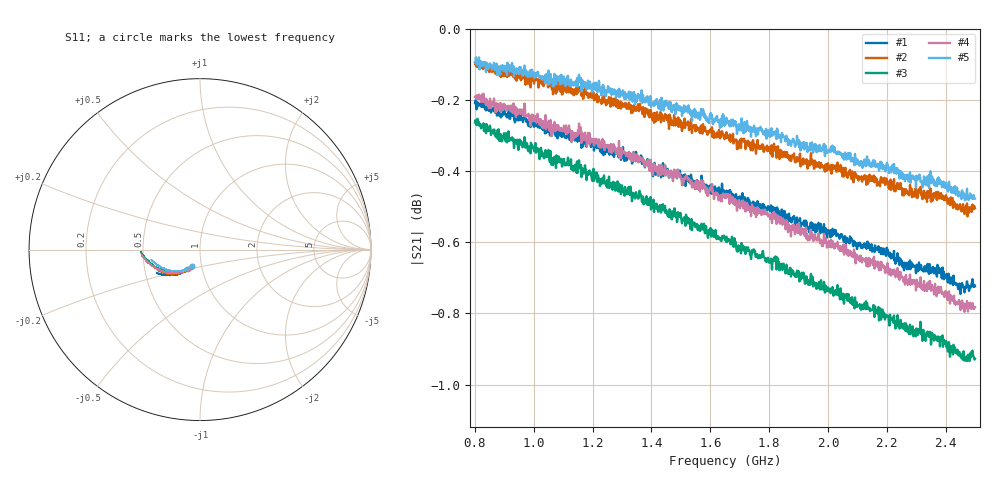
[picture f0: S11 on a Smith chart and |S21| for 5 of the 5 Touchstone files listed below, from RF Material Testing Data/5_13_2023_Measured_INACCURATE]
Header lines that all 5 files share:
!Keysight Technologies N9950B: A.12.38
!Timezone: (UTC-06:00) Central Time (US & Canada)
!Model: N9950B
!Serial: MY61131330
!GPS Latitude:
!GPS Longitude:
!GPS TimeStamp: 0001-01-01 00:00:00Z
!GPS Seconds Since Last Read: 0
!Correction: S11(ON U)S21(ON U)S12(ON U)S22(ON U)
!S2P File: Measurements:S11,S21,S12,S22:
# Hz S DB R 50
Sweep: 800 MHz to 2.5 GHz
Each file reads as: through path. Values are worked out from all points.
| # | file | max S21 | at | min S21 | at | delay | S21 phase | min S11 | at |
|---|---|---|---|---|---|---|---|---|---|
| 1 | 13.May.2023_8.6mm_durablesla.s2p | -0.20 dB | 835.7 MHz | -0.7 dB | 2.451 GHz | 51.5 ps | -33 deg at 1.65 GHz | -19.3 dB | 801.7 MHz |
| 2 | 13.May.2023_10mm_abs320.s2p | -0.09 dB | 803.4 MHz | -0.5 dB | 2.474 GHz | 54.1 ps | -34 deg at 1.65 GHz | -18.7 dB | 801.7 MHz |
| 3 | 13.May.2023_10mm_durablesla.s2p | -0.25 dB | 808.5 MHz | -0.9 dB | 2.481 GHz | 55.7 ps | -36 deg at 1.65 GHz | -17.2 dB | 801.7 MHz |
| 4 | 13.May.2023_10mm_hightemp_or_clear.s2p | -0.18 dB | 828.9 MHz | -0.8 dB | 2.464 GHz | 56.2 ps | -36 deg at 1.65 GHz | -17.6 dB | 801.7 MHz |
| 5 | 13.May.2023_10mm_pla.s2p | -0.08 dB | 803.4 MHz | -0.5 dB | 2.466 GHz | 53.4 ps | -33 deg at 1.65 GHz | -19.7 dB | 801.7 MHz |
